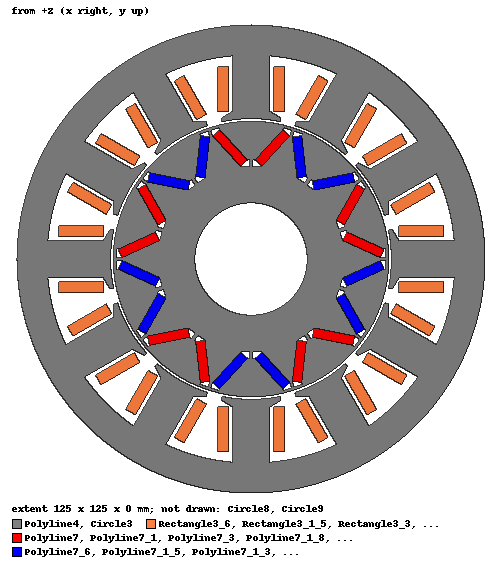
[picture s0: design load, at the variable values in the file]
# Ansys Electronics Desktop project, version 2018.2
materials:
  35CS250: core_loss_curve{25Hz (0, 0) (0, 0) (0, 0) (0, 0) (0, 0) (0, 0) (0, 0) (0, 0) (0, 0) (0, 0) (0, 0) (0, 0) (0, 0) (0, 0) (0, 0) (0, 0) (0, 0) (0, 0)} core_loss_curve{50Hz (0, 0) (0, 0) (0, 0) (0, 0) (0, 0) (0, 0) (0, 0) (0, 0) (0, 0) (0, 0) (0, 0) (0, 0) (0, 0) (0, 0) (0, 0) (0, 0) (0, 0) (0, 0)} core_loss_curve{60Hz (0, 0) (0, 0) (0, 0) (0, 0) (0, 0) (0, 0) (0, 0) (0, 0) (0, 0) (0, 0) (0, 0) (0, 0) (0, 0) (0, 0) (0, 0) (0, 0) (0, 0) (0, 0)} core_loss_curve{100Hz (0, 0) (0, 0) (0, 0) (0, 0) (0, 0) (0, 0) (0, 0) (0, 0) (0, 0) (0, 0) (0, 0) (0, 0) (0, 0) (0, 0) (0, 0) (0, 0) (0, 0) (0, 0)} core_loss_curve{200Hz (0, 0) (0, 0) (0, 0) (0, 0) (0, 0) (0, 0) (0, 0) (0, 0) (0, 0) (0, 0) (0, 0) (0, 0) (0, 0) (0, 0) (0, 0) (0, 0) (0, 0) (0, 0) (0, 0)} core_loss_curve{400Hz (0, 0) (0, 0) (0, 0) (0, 0) (0, 0) (0, 0) (0, 0) (0, 0) (0, 0) (0, 0) (0, 0) (0, 0) (0, 0) (0, 0) (0, 0) (0, 0) (0, 0) (0, 0) (0, 0) (0, 0) (0, 0) (0, 0) (0, 0) (0, 0) (0, 0) (0, 0) (0, 0) (0, 0) (0, 0) (0, 0) (0, 0) (0, 0) (0, 0) (0, 0) (0, 0) (0, 0) (0, 0) (0, 0) (0, 0) (0, 0) (0, 0) (0, 0) (0, 0)} core_loss_curve{1000Hz (0, 0) (0, 0) (0, 0) (0, 0) (0, 0) (0, 0) (0, 0) (0, 0) (0, 0) (0, 0) (0, 0) (0, 0) (0, 0) (0, 0) (0, 0) (0, 0) (0, 0) (0, 0) (0, 0) (0, 0) (0, 0) (0, 0) (0, 0) (0, 0) (0, 0) (0, 0) (0, 0) (0, 0) (0, 0) (0, 0) (0, 0) (0, 0) (0, 0) (0, 0) (0, 0) (0, 0) (0, 0) (0, 0) (0, 0) (0, 0) (0, 0) (0, 0) (0, 0)} core_loss_curve{2500Hz (0, 0) (0, 0) (0, 0) (0, 0) (0, 0) (0, 0) (0, 0) (0, 0) (0, 0) (0, 0) (0, 0) (0, 0) (0, 0) (0, 0) (0, 0) (0, 0) (0, 0) (0, 0) (0, 0) (0, 0) (0, 0) (0, 0) (0, 0) (0, 0) (0, 0) (0, 0) (0, 0)} core_loss_curve{5000Hz (0, 0) (0, 0) (0, 0) (0, 0) (0, 0) (0, 0) (0, 0) (0, 0) (0, 0) (0, 0) (0, 0) (0, 0) (0, 0) (0, 0) (0, 0) (0, 0) (0, 0) (0, 0) (0, 0) (0, 0) (0, 0) (0, 0) (0, 0) (0, 0) (0, 0) (0, 0)} permeability{BType=normal HUnit=A_per_meter BUnit=tesla curve (0, 0) (49.9359, 0.0545571) (69.7393, 0.101866) (79.3602, 0.167389) (98.2846, 0.345766) (125.072, 0.851805) (153.324, 1.1394) (182.895, 1.23038) (202.698, 1.27769) (222.331, 1.35049) (272.413, 1.3832) (352.579, 1.43044) (422.734, 1.47041) (533.228, 1.49578) (663.891, 1.51384) (784.421, 1.54283) (895.013, 1.55363) (1076, 1.568) (1317.36, 1.5823) (1679.38, 1.60375) (2041.41, 1.6252) (2524.19, 1.64287) (3167.89, 1.66766) (3570.23, 1.67814) (4475.45, 1.70992) (6678.3, 1.76576) (9987.72, 1.83132)} conductivity=1899696 core_loss_type="Electrical Steel" core_loss_kh=377.81394 core_loss_kc=0.26250049 core_loss_ke=0.65138344 mass_density=7850
  Arnold_Magnetics_N35UH_80C-N: permeability{BType=normal HUnit=A_per_meter BUnit=tesla curve (-866986, 0) (-433493, 0.564705) (0, 1.12941)} conductivity=555555.5556 magnetic_coercivity{Magnitude=-866986A_per_meter DirComp1=1 DirComp2=0 DirComp3=0}
  Arnold_Magnetics_N35UH_80C-S: permeability{BType=normal HUnit=A_per_meter BUnit=tesla curve (-866986, 0) (-433493, 0.564705) (0, 1.12941)} conductivity=555555.5556 magnetic_coercivity{Magnitude=-866986A_per_meter DirComp1=-1 DirComp2=0 DirComp3=0}
  copper_75C: permeability=0.999991 conductivity=46000000
  vacuum: permittivity=1

design load (Maxwell 2D, Transient, XY geometry, model units mm)
options: ModelDepth=thickness Multiplier=1
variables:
  statorod = (125/2) mm
  wbi = 8mm
  wtb = 10mm
  d3 = 15mm
  d2 = 1mm
  d1 = 1mm
  ws = 2mm
  lock = 360*((pi*(statorod-wbi-d3-d2-d1)/24-ws/2)/(pi*(statorod-wbi-d3-d2-d1))) deg
  R1 = 0mm
  airgap = 0.7mm
  rotorio = 15mm
  wmw = 11mm
  wmt = 2.5mm
  am = 85deg
  mx = 0.5mm
  ml = 26.5mm
  rib = 0.5mm
  thickness = 150mm
  Sp = 3000rpm
  turns = 3
  Im = Irms
  delta = 39deg
  Id = 40A
  Iq = 50A
  Irms = 0A
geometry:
  Circle1 = circle(normal=Z, centre=(0mm, 0mm, 0mm), radius=statorod)
  Circle2 = circle(normal=Z, centre=(0mm, 0mm, 0mm), radius=statorod-wbi)
  Circle1.subtract(Circle2)
  Rectangle1 = rectangle(corner=(-wtb/2, statorod-wbi-d3, 0), x_size=wtb, y_size=d3)
  Rectangle1_1..Rectangle1_11 = Rectangle1.duplicate_around_axis(axis=Z, angle=30deg, total=12)
  Rectangle1.unite(Rectangle1_11, Rectangle1_10, Rectangle1_9, Rectangle1_8, Rectangle1_7, Rectangle1_6, Rectangle1_5, Rectangle1_4, Rectangle1_3, Rectangle1_2, Rectangle1_1, Circle1)
  Polyline1 = polyline(z=0mm, xy: (0mm, statorod-wbi-d3-d2-d1) (3.9016646mm, 37.296475mm) (7.7609778mm, 36.688107mm), AngularArc from point 0 over 3 centre=(0mm, 0mm, 0mm) angle=-360*((pi*(statorod-wbi-d3-d2-d1)/24-ws/2)/(pi*(statorod-wbi-d3-d2-d1))) deg plane=XY)
  Polyline2 = polyline((0mm, statorod-wbi-d3-d2-d1, 0mm) (0mm, statorod-wbi-d3-d2, 0mm))
  Polyline2_1 = Polyline2.duplicate_around_axis(axis=Z, angle=-360*((pi*(statorod-wbi-d3-d2-d1)/24-ws/2)/(pi*(statorod-wbi-d3-d2-d1))) deg, total=2)
  Polyline2.delete()
  Polyline3 = polyline(((statorod-wbi-d3-d2)*sin(lock), (statorod-wbi-d3-d2)*cos(lock), 0mm) (wtb/2, statorod-wbi-d3, 0mm))
  Polyline4 [35CS250] = polyline((wtb/2, statorod-wbi-d3, 0mm) (0mm, statorod-wbi-d3, 0mm))
  Polyline5 = polyline((0mm, statorod-wbi-d3-d2-d1, 0mm) (0mm, statorod-wbi-d3, 0mm))
  Polyline4.unite(Polyline5, Polyline1, Polyline2_1, Polyline3)
  Polyline4.cover_lines()
  Polyline4_1 = Polyline4.duplicate_mirror(point=(0mm, 71mm, 0mm), normal=(-1mm, 0mm, 0mm))
  Polyline4.unite(Polyline4_1)
  Polyline4_2..Polyline4_12 = Polyline4.duplicate_around_axis(axis=Z, angle=30deg, total=12)
  Polyline4.unite(Rectangle1, Polyline4_12, Polyline4_2..Polyline4_6, Polyline4_11, Polyline4_10, Polyline4_9, Polyline4_8, Polyline4_7)
  Circle3 [35CS250] = circle(normal=Z, centre=(0mm, R1, 0mm), radius=statorod-wbi-d3-d2-d1-airgap-R1)
  Circle3_1..Circle3_9 = Circle3.duplicate_around_axis(axis=Z, angle=36deg, total=10)
  Circle3.unite(Circle3_1..Circle3_9)
  Circle4 = circle(normal=Z, centre=(0mm, 0mm, 0mm), radius=rotorio)
  Circle3.subtract(Circle4)
  Rectangle3 [copper_75C] = rectangle(corner=(-(wtb/2)-4mm, statorod-wbi-d3, 0mm), x_size=3mm, y_size=d3-3 mm)
  Rectangle3_1 [copper_75C] = Rectangle3.duplicate_mirror(point=(0mm, 100mm, 0mm), normal=(1mm, 0mm, 0mm))
  Rectangle3_2..Rectangle3_12 [copper_75C] = Rectangle3.duplicate_around_axis(axis=Z, angle=30deg, total=12)
  Rectangle3_1_1..Rectangle3_1_11 [copper_75C] = Rectangle3_1.duplicate_around_axis(axis=Z, angle=30deg, total=12)
  Polyline6 = polyline(z=0mm, xy: (0mm, 0mm) (rib, 0mm) (rib+wmw*cos(90deg-am/2), wmw*sin(90deg-am/2)) (rib+wmw*cos(90deg-am/2)+rib*cos(72deg), wmw*sin(90deg-am/2)+rib*sin(72deg)) (rib+wmw*cos(90deg-am/2)+rib*cos(72deg)+wmt*sin(108deg-am/2)*sin(72deg), wmw*sin(90deg-am/2)+rib*sin(72deg)-wmt*sin(108deg-am/2)*cos(72deg)) (rib+wmw*cos(90deg-am/2)+wmt*cos(am/2), wmw*sin(90deg-am/2)-wmt*sin(am/2)) (rib+wmt*cos(am/2), -wmt*sin(am/2)) (0mm, -wmt*sin(am/2)) (0mm, 0mm), closed, covered)
  Polyline6.move(mx, ml, 0mm)
  Polyline6_1 = Polyline6.duplicate_mirror(point=(0mm, 28mm, 0mm), normal=(-1mm, 0mm, 0mm))
  Polyline6_2..Polyline6_10 = Polyline6.duplicate_around_axis(axis=Z, angle=36deg, total=10)
  Polyline6_1_1..Polyline6_1_9 = Polyline6_1.duplicate_around_axis(axis=Z, angle=36deg, total=10)
  Circle3.subtract(Polyline6, Polyline6_1, Polyline6_1_1..Polyline6_1_9, Polyline6_10, Polyline6_2..Polyline6_9)
  coordinate_system RelativeCS1 = origin=(0mm, 0mm, 0mm) x=(-cos(am/2), sin(am/2), 0mm) y=(-sin(am/2), -cos(am/2), 0mm)
  Polyline7 [Arnold_Magnetics_N35UH_80C-N, oriented by RelativeCS1] = polyline(z=0mm, xy: (rib, 0mm) (rib+wmw*cos(90deg-am/2), wmw*sin(90deg-am/2)) (rib+wmw*cos(90deg-am/2)+wmt*cos(am/2), wmw*sin(90deg-am/2)-wmt*sin(am/2)) (rib+wmt*cos(am/2), -wmt*sin(am/2)) (rib, 0mm), closed, covered)
  Polyline7.move(mx, ml, 0mm)
  Polyline7_1 [Arnold_Magnetics_N35UH_80C-N, oriented by RelativeCS11] = Polyline7.duplicate_mirror(point=(0mm, 28mm, 0mm), normal=(-1mm, 0mm, 0mm))
  coordinate_system RelativeCS11 = origin=(0mm, 0mm, 0mm) x=(cos(am/2), sin(am/2), 0mm) y=(-sin(am/2), cos(am/2), 0mm)
  Polyline7_2 [Arnold_Magnetics_N35UH_80C-S, oriented by RelativeCS2], Polyline7_3 [Arnold_Magnetics_N35UH_80C-N, oriented by RelativeCS3], Polyline7_4 [Arnold_Magnetics_N35UH_80C-S, oriented by RelativeCS4], Polyline7_5 [Arnold_Magnetics_N35UH_80C-N, oriented by RelativeCS5], Polyline7_6 [Arnold_Magnetics_N35UH_80C-S, oriented by RelativeCS6], Polyline7_7 [Arnold_Magnetics_N35UH_80C-N, oriented by RelativeCS7], Polyline7_8 [Arnold_Magnetics_N35UH_80C-S, oriented by RelativeCS8], Polyline7_9 [Arnold_Magnetics_N35UH_80C-N, oriented by RelativeCS9], Polyline7_10 [Arnold_Magnetics_N35UH_80C-S, oriented by RelativeCS10] = Polyline7.duplicate_around_axis(axis=Z, angle=36deg, total=10)
  coordinate_system RelativeCS2 = origin=(0mm, 0mm, 0mm) x=(-cos(am/2-36deg), sin(am/2-36deg), 0mm) y=(-sin(am/2-36deg), -cos(am/2-36deg), 0mm)
  coordinate_system RelativeCS3 = origin=(0mm, 0mm, 0mm) x=(-cos(am/2-72deg), sin(am/2-72deg), 0mm) y=(-sin(am/2-72deg), -cos(am/2-72deg), 0mm)
  coordinate_system RelativeCS4 = origin=(0mm, 0mm, 0mm) x=(-cos(am/2-108deg), sin(am/2-108deg), 0mm) y=(-sin(am/2-108deg), cos(am/2-108deg), 0mm)
  coordinate_system RelativeCS5 = origin=(0mm, 0mm, 0mm) x=(-cos(am/2-144deg), sin(am/2-144deg), 0mm) y=(-sin(am/2-144deg), -cos(am/2-144deg), 0mm)
  coordinate_system RelativeCS6 = origin=(0mm, 0mm, 0mm) x=(-cos(am/2-180deg), sin(am/2-180deg), 0mm) y=(-sin(am/2-180deg), -cos(am/2-180deg), 0mm)
  coordinate_system RelativeCS7 = origin=(0mm, 0mm, 0mm) x=(-cos(am/2-216deg), sin(am/2-216deg), 0mm) y=(-sin(am/2-216deg), -cos(am/2-216deg), 0mm)
  coordinate_system RelativeCS8 = origin=(0mm, 0mm, 0mm) x=(-cos(am/2-252deg), sin(am/2-252deg), 0mm) y=(-sin(am/2-252deg), -cos(am/2-252deg), 0mm)
  coordinate_system RelativeCS9 = origin=(0mm, 0mm, 0mm) x=(-cos(am/2-288deg), sin(am/2-288deg), 0mm) y=(-sin(am/2-288deg), -cos(am/2-288deg), 0mm)
  coordinate_system RelativeCS10 = origin=(0mm, 0mm, 0mm) x=(-cos(am/2-324deg), sin(am/2-324deg), 0mm) y=(-sin(am/2-324deg), -cos(am/2-324deg), 0mm)
  Polyline7_1_1 [Arnold_Magnetics_N35UH_80C-S, oriented by RelativeCS12], Polyline7_1_2 [Arnold_Magnetics_N35UH_80C-N, oriented by RelativeCS13], Polyline7_1_3 [Arnold_Magnetics_N35UH_80C-S, oriented by RelativeCS14], Polyline7_1_4 [Arnold_Magnetics_N35UH_80C-N, oriented by RelativeCS15], Polyline7_1_5 [Arnold_Magnetics_N35UH_80C-S, oriented by RelativeCS16], Polyline7_1_6 [Arnold_Magnetics_N35UH_80C-N, oriented by RelativeCS17], Polyline7_1_7 [Arnold_Magnetics_N35UH_80C-S, oriented by RelativeCS18], Polyline7_1_8 [Arnold_Magnetics_N35UH_80C-N, oriented by RelativeCS19], Polyline7_1_9 [Arnold_Magnetics_N35UH_80C-S, oriented by RelativeCS20] = Polyline7_1.duplicate_around_axis(axis=Z, angle=36deg, total=10)
  coordinate_system RelativeCS12 = origin=(0mm, 0mm, 0mm) x=(cos(am/2+36deg), sin(am/2+36deg), 0mm) y=(-sin(am/2+36deg), cos(am/2+36deg), 0mm)
  coordinate_system RelativeCS13 = origin=(0mm, 0mm, 0mm) x=(cos(am/2+72deg), sin(am/2+72deg), 0mm) y=(-sin(am/2+72deg), cos(am/2+72deg), 0mm)
  coordinate_system RelativeCS14 = origin=(0mm, 0mm, 0mm) x=(cos(am/2+108deg), sin(am/2+108deg), 0mm) y=(-sin(am/2+108deg), cos(am/2+108deg), 0mm)
  coordinate_system RelativeCS15 = origin=(0mm, 0mm, 0mm) x=(cos(am/2+144deg), sin(am/2+144deg), 0mm) y=(-sin(am/2+144deg), cos(am/2+144deg), 0mm)
  coordinate_system RelativeCS16 = origin=(0mm, 0mm, 0mm) x=(cos(am/2+180deg), sin(am/2+180deg), 0mm) y=(-sin(am/2+180deg), cos(am/2+180deg), 0mm)
  coordinate_system RelativeCS17 = origin=(0mm, 0mm, 0mm) x=(cos(am/2+216deg), sin(am/2+216deg), 0mm) y=(-sin(am/2+216deg), cos(am/2+216deg), 0mm)
  coordinate_system RelativeCS18 = origin=(0mm, 0mm, 0mm) x=(cos(am/2+252deg), sin(am/2+252deg), 0mm) y=(-sin(am/2+252deg), cos(am/2+252deg), 0mm)
  coordinate_system RelativeCS19 = origin=(0mm, 0mm, 0mm) x=(cos(am/2+288deg), sin(am/2+288deg), 0mm) y=(-sin(am/2+288deg), cos(am/2+288deg), 0mm)
  coordinate_system RelativeCS20 = origin=(0mm, 0mm, 0mm) x=(cos(am/2+324deg), sin(am/2+324deg), 0mm) y=(-sin(am/2+324deg), cos(am/2+324deg), 0mm)
  Circle8 [vacuum] = circle(normal=Z, centre=(0mm, 0mm, 0mm), radius=statorod + 5mm)
  Circle9 [vacuum] = circle(normal=Z, centre=(0mm, 0mm, 0mm), radius=statorod-wbi-d3-d2-d1-0.3mm)
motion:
  MotionSetup1: Band Move_Type=Rotate Coordinate_System=Global Axis=Z Is_Positive=true InitPos=45.5deg Angular_Velocity=Sp Objects=Circle9
  Moving1: Moving Objects=[Circle3, Polyline7, Polyline7_1..Polyline7_10, Polyline7_1_1..Polyline7_1_9]
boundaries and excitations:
  Balloon1: Balloon Edges=Circle8.edge(1 of 1)
  Rectangle3: Coil Objects=Rectangle3 Conductor_number=turns Winding=PhaseB PolarityType=Negative
  Rectangle3_1: Coil Objects=Rectangle3_1 Conductor_number=turns Winding=PhaseA PolarityType=Negative
  Rectangle3_1_1: Coil Objects=Rectangle3_1_1 Conductor_number=turns Winding=PhaseB PolarityType=Negative
  Rectangle3_1_2: Coil Objects=Rectangle3_1_2 Conductor_number=turns Winding=PhaseB PolarityType=Positive
  Rectangle3_1_3: Coil Objects=Rectangle3_1_3 Conductor_number=turns Winding=PhaseC PolarityType=Positive
  Rectangle3_1_4: Coil Objects=Rectangle3_1_4 Conductor_number=turns Winding=PhaseC PolarityType=Negative
  Rectangle3_1_5: Coil Objects=Rectangle3_1_5 Conductor_number=turns Winding=PhaseA PolarityType=Negative
  Rectangle3_1_6: Coil Objects=Rectangle3_1_6 Conductor_number=turns Winding=PhaseA PolarityType=Positive
  Rectangle3_1_7: Coil Objects=Rectangle3_1_7 Conductor_number=turns Winding=PhaseB PolarityType=Positive
  Rectangle3_1_8: Coil Objects=Rectangle3_1_8 Conductor_number=turns Winding=PhaseB PolarityType=Negative
  Rectangle3_1_9: Coil Objects=Rectangle3_1_9 Conductor_number=turns Winding=PhaseC PolarityType=Negative
  Rectangle3_1_10: Coil Objects=Rectangle3_1_10 Conductor_number=turns Winding=PhaseC PolarityType=Positive
  Rectangle3_1_11: Coil Objects=Rectangle3_1_11 Conductor_number=turns Winding=PhaseA PolarityType=Positive
  Rectangle3_2: Coil Objects=Rectangle3_2 Conductor_number=turns Winding=PhaseC PolarityType=Negative
  Rectangle3_3: Coil Objects=Rectangle3_3 Conductor_number=turns Winding=PhaseC PolarityType=Positive
  Rectangle3_4: Coil Objects=Rectangle3_4 Conductor_number=turns Winding=PhaseA PolarityType=Positive
  Rectangle3_5: Coil Objects=Rectangle3_5 Conductor_number=turns Winding=PhaseA PolarityType=Negative
  Rectangle3_6: Coil Objects=Rectangle3_6 Conductor_number=turns Winding=PhaseB PolarityType=Negative
  Rectangle3_7: Coil Objects=Rectangle3_7 Conductor_number=turns Winding=PhaseB PolarityType=Positive
  Rectangle3_8: Coil Objects=Rectangle3_8 Conductor_number=turns Winding=PhaseC PolarityType=Positive
  Rectangle3_9: Coil Objects=Rectangle3_9 Conductor_number=turns Winding=PhaseC PolarityType=Negative
  Rectangle3_10: Coil Objects=Rectangle3_10 Conductor_number=turns Winding=PhaseA PolarityType=Negative
  Rectangle3_11: Coil Objects=Rectangle3_11 Conductor_number=turns Winding=PhaseA PolarityType=Positive
  Rectangle3_12: Coil Objects=Rectangle3_12 Conductor_number=turns Winding=PhaseB PolarityType=Positive
  PhaseA: Winding Group Type=Current IsSolid=false Current=Irms*2^0.5*sin(5*Sp*time+delta) ParallelBranchesNum=1
  PhaseB: Winding Group Type=Current IsSolid=false Current=Irms*2^0.5*sin(5*Sp*time+4/3*pi+delta) ParallelBranchesNum=1
  PhaseC: Winding Group Type=Current IsSolid=false Current=Irms*2^0.5*sin(5*Sp*time+2/3*pi+delta) ParallelBranchesNum=1
  core loss on: Polyline4, Circle3
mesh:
  rotor: LengthBased Objects=Circle3 MaxLength="(14.72/4) mm"
  stator: LengthBased Objects=Polyline4 MaxLength="(23/4) mm"
  magnet: LengthBased Objects=[Polyline7_1, Polyline7, Polyline7_1_9, Polyline7_10, Polyline7_1_8, Polyline7_9, Polyline7_2, Polyline7_1_1, Polyline7_3, Polyline7_1_2, Polyline7_4, Polyline7_1_3, Polyline7_5, Polyline7_1_4, Polyline7_6, Polyline7_1_5, Polyline7_7, Polyline7_1_6, Polyline7_8, Polyline7_1_7] MaxLength="(2.13671930126588/4) mm"
  winding: LengthBased Objects=[Rectangle3, Rectangle3_1_1, Rectangle3_2, Rectangle3_1_2, Rectangle3_3, Rectangle3_1_3, Rectangle3_4, Rectangle3_1_4, Rectangle3_5, Rectangle3_1_5, Rectangle3_6, Rectangle3_1_6, Rectangle3_7, Rectangle3_1_7, Rectangle3_8, Rectangle3_1_8, Rectangle3_9, Rectangle3_1_9, Rectangle3_10, Rectangle3_1_10, Rectangle3_11, Rectangle3_1_11, Rectangle3_12, Rectangle3_1] MaxLength="(1.51243556529822/4) mm"
  Length1: LengthBased Objects=Circle9 MaxLength="(14.88/4) mm"
  Length2: LengthBased Objects=Circle8 MaxLength="(23.213789005675/4) mm"
  initial mesh: MeshMethod=AnsoftClassic
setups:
  Setup1: Transient NonlinearSolverResidual=0.0001 StopTime=1/((Sp/1rpm)/60*5) TimeStep=1/((Sp/1rpm)/60*5)/50 SweepSetupType=LinearStep StartValue=0ns StopValue=10000000ns StepSize=5000000ns InitialTimeStep=0.002s MinTimeStep=0.001s MaxTimeStep=0.003s TimeStepErrTolerance=0.0001
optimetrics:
  OPT: Parametric Sim._Setups=[Setup1]
    sweep Irms: 80A
    sweep Sp: 3000rpm
    sweep delta: 40deg
    sweep wmw: 11mm
    sweep wmt: 2.5mm
    sweep R1: 0mm
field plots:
  Mag_B1, Mag_B2: B over Polyline4, Circle3, Rectangle3, Rectangle3_1..Rectangle3_12, Rectangle3_1_1..Rectangle3_1_11, Polyline7, Polyline7_1..Polyline7_10, Polyline7_1_1..Polyline7_1_9, Circle8, Circle9 on Setup1 : Transient at Time=-1
  Mag_B3: B over Circle3.face(at (0, 0, 0)) Rectangle3.face(at (-7.5, 45.5, 0)) Rectangle3_1.face Rectangle3_2.face Rectangle3_3.face Rectangle3_4.face Rectangle3_5.face Rectangle3_6.face Rectangle3_7.face Rectangle3_8.face Rectangle3_9.face Rectangle3_10.face Rectangle3_11.face Rectangle3_12.face Rectangle3_1_1.face Rectangle3_1_2.face Rectangle3_1_3.face Rectangle3_1_4.face Rectangle3_1_5.face Rectangle3_1_6.face Rectangle3_1_7.face Rectangle3_1_8.face Rectangle3_1_9.face Rectangle3_1_10.face Rectangle3_1_11.face Polyline4.face(at (3.98397, 38.0941, 0)) Polyline7.face(#11302) Polyline7_1.face Polyline7_2.face Polyline7_3.face Polyline7_4.face Polyline7_5.face Polyline7_6.face Polyline7_7.face Polyline7_8.face Polyline7_9.face Polyline7_10.face Polyline7_1_1.face Polyline7_1_2.face Polyline7_1_3.face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 on Setup1 : Transient at Time=-1
